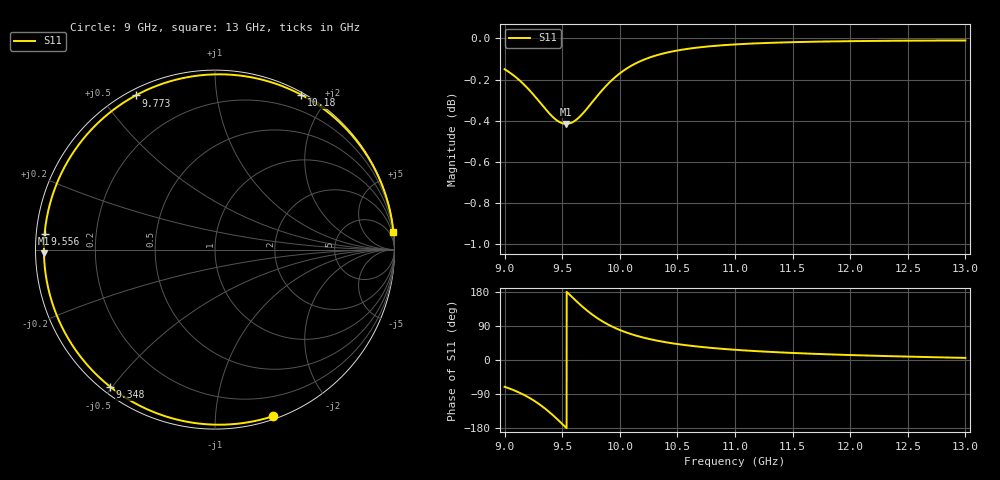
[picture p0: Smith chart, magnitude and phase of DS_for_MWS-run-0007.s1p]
! TOUCHSTONE file generated by CST DESIGN STUDIO
! Date and time: Tue Feb  4 18:26:28 2025
! Project name: C:\Work\MatlabApps\UnitCellOptimizationMatlab\CST\unitcell.cst
! Tree item: Tasks\Sweep1\SPara1\S-Parameters
! Header version: 2024
! Port assignment regex: !\s*Touchstone port\s*([0-9]+)\s*=\s*(CST MWS port|CST DES external port|CST DES block port)\s*(.+)\s* \(\"(.*)\"\)(\s*mode\s*([0-9]+))?.*
! Touchstone port assignment:
! Touchstone port 1 = CST DES external port 1 ("")
# GHz S MA R 50
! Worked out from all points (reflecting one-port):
!   4001 points, 9 GHz to 13 GHz, reference 50 ohm
!   lowest |S11| = -0.4 dB at 9.534 GHz (marker M1), VSWR 41.81, Z = 1.2 - j0.565 ohm
!   phase of S11 starts at -71 deg and turns -284 deg over the sweep
!   S11 on the Smith chart (normalised r, x): 9 GHz: 0.03, -1.41; 9.348 GHz: 0.02, -0.49; 9.556 GHz: 0.02, +0.05; 9.773 GHz: 0.02, +0.61; 10.18 GHz: 0.02, +1.70; 13 GHz: 0, +21
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9  0.9829 -70.7
9.097  0.9785 -81.9
9.205  0.9721 -98.1
9.28  0.9668 -112.2
9.348  0.9617 -127.4
9.42  0.9569 -145.9
9.462  0.9548 -157.6
9.5  0.9536 -168.6
9.534  0.9533 -178.7
9.556  0.9534 174.8
9.61  0.9549 158.9
9.671  0.9583 142.0
9.722  0.962 129.0
9.773  0.9659 117.2
9.821  0.9695 107.3
9.873  0.9732 97.8
9.932  0.977 88.4
10  0.9806 79.2
10.087  0.9843 69.5
10.182  0.9874 60.9
10.327  0.9907 50.9
10.5  0.9933 42.1
10.721  0.9952 34.1
11  0.9966 26.9
11.5  0.9979 18.6
12  0.9984 13.1
12.5  0.9987 8.9
13  0.9988 5.6
